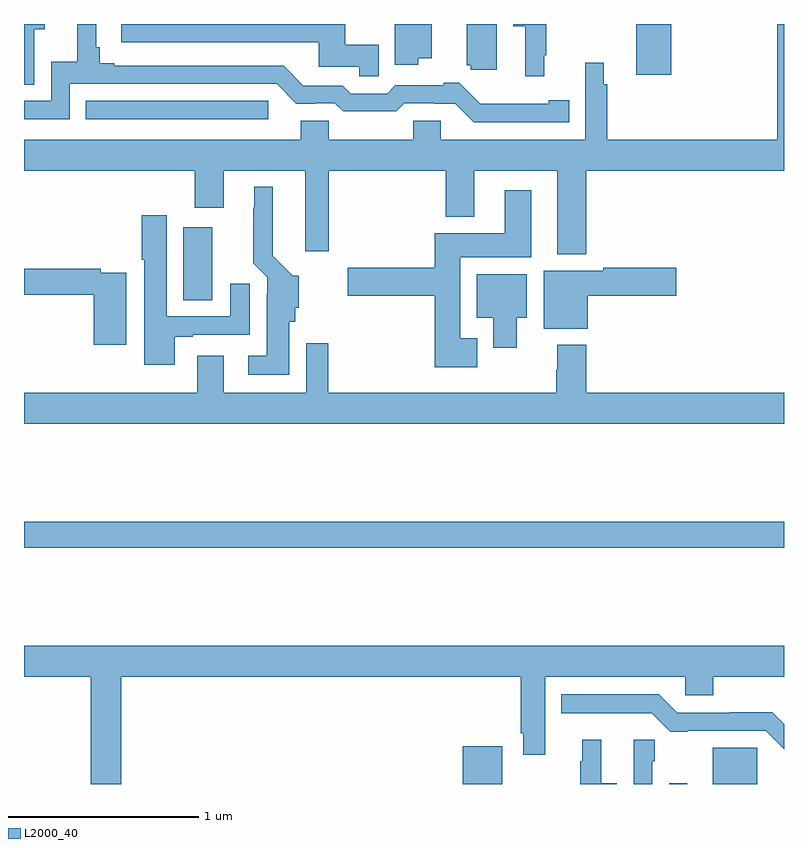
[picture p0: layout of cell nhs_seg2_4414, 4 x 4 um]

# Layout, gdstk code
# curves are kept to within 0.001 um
import gdstk
lib = gdstk.Library(unit=1e-6, precision=1e-09)
def R(c, l, rs):  # rectangles x0, y0, x1, y1
    for r in rs: c.add(gdstk.rectangle(r[:2], r[2:], *l))
def P(c, l, *ps):  # polygons
    for p in ps: c.add(gdstk.Polygon(p, *l))
L2000_40 = (2000, 40)

nhs_seg2_4414 = lib.new_cell('nhs_seg2_4414')
R(nhs_seg2_4414, L2000_40, [(353.309,585.8,353.518,586), (354.396,585.8,354.491,585.805), (354.626,585.8,354.86,585.991), (351,587.044,355,587.18), (351.839,588.346,351.991,588.73), (351.325,589.299,352.285,589.395), (354.223,589.532,354.406,589.8)])
P(nhs_seg2_4414, L2000_40, [(353.488,589.8),(353.33,589.8),(353.33,589.584),(353.352,589.584),(353.352,589.559),(353.488,589.559)],
  [(353.87,589.4),(353.762,589.4),(353.762,589.381),(353.402,589.381),(353.291,589.492),(353.21,589.492),(353.21,589.477),(352.954,589.477),(352.911,589.434),(352.72,589.434),(352.678,589.476),(352.471,589.476),(352.366,589.581),(351.475,589.581),(351.475,589.594),(351.398,589.594),(351.398,589.678),(351.379,589.678),(351.379,589.8),(351.281,589.8),(351.281,589.601),(351.144,589.601),(351.144,589.395),(351,589.395),(351,589.299),(351.24,589.299),(351.24,589.485),(352.329,589.485),(352.434,589.38),(352.533,589.38),(352.533,589.383),(352.635,589.383),(352.679,589.34),(352.958,589.34),(353.001,589.383),(353.158,589.383),(353.158,589.38),(353.271,589.38),(353.367,589.284),(353.87,589.284)],
  [(353.074,589.619),(353.146,589.619),(353.146,589.8),(352.952,589.8),(352.952,589.586),(353.074,589.586)],
  [(353.96,589.028),(355,589.028),(355,589.8),(354.965,589.8),(354.965,589.192),(354.071,589.192),(354.071,589.484),(354.052,589.484),(354.052,589.597),(353.955,589.597),(353.955,589.192),(353.193,589.192),(353.193,589.29),(353.048,589.29),(353.048,589.192),(352.604,589.192),(352.604,589.29),(352.457,589.29),(352.457,589.192),(351,589.192),(351,589.028),(351.899,589.028),(351.899,588.834),(352.051,588.834),(352.051,589.028),(352.481,589.028),(352.481,588.603),(352.604,588.603),(352.604,589.028),(353.219,589.028),(353.219,588.785),(353.371,588.785),(353.371,589.028),(353.807,589.028),(353.807,588.587),(353.96,588.587)],
  [(353.738,589.636),(353.749,589.636),(353.749,589.8),(353.576,589.8),(353.576,589.789),(353.639,589.789),(353.639,589.524),(353.738,589.524)],
  [(351.055,589.772),(351.109,589.772),(351.109,589.8),(351,589.8),(351,589.48),(351.055,589.48)],
  [(352.867,589.691),(352.69,589.691),(352.69,589.8),(351.513,589.8),(351.513,589.704),(352.55,589.704),(352.55,589.575),(352.765,589.575),(352.765,589.524),(352.867,589.524)],
  [(352.396,588.234),(352.427,588.234),(352.427,588.307),(352.447,588.307),(352.447,588.474),(352.414,588.474),(352.309,588.58),(352.309,588.943),(352.211,588.943),(352.211,588.833),(352.207,588.833),(352.207,588.542),(352.281,588.468),(352.281,588.374),(352.277,588.374),(352.277,588.055),(352.179,588.055),(352.179,587.954),(352.396,587.954)],
  [(353.386,588.145),(353.296,588.145),(353.296,588.572),(353.671,588.572),(353.671,588.925),(353.531,588.925),(353.531,588.7),(353.162,588.7),(353.162,588.518),(352.704,588.518),(352.704,588.371),(353.162,588.371),(353.162,587.993),(353.386,587.993)],
  [(351.793,588.153),(351.889,588.153),(351.889,588.165),(352.189,588.165),(352.189,588.433),(352.085,588.433),(352.085,588.261),(351.751,588.261),(351.751,588.793),(351.62,588.793),(351.62,588.559),(351.632,588.559),(351.632,588.006),(351.793,588.006)],
  [(353.968,588.371),(354.433,588.371),(354.433,588.518),(354.048,588.518),(354.048,588.502),(353.735,588.502),(353.735,588.197),(353.968,588.197)],
  [(351.538,588.492),(351.404,588.492),(351.404,588.512),(351,588.512),(351,588.376),(351.368,588.376),(351.368,588.111),(351.538,588.111)],
  [(353.593,588.254),(353.647,588.254),(353.647,588.484),(353.384,588.484),(353.384,588.254),(353.471,588.254),(353.471,588.096),(353.593,588.096)],
  [(355,587.86),(353.96,587.86),(353.96,588.112),(353.807,588.112),(353.807,587.981),(353.8,587.981),(353.8,587.86),(352.601,587.86),(352.601,588.121),(352.485,588.121),(352.485,587.86),(352.051,587.86),(352.051,588.055),(351.911,588.055),(351.911,587.86),(351,587.86),(351,587.696),(355,587.696)],
  [(351.512,586.364),(353.615,586.364),(353.615,586.066),(353.627,586.066),(353.627,585.954),(353.743,585.954),(353.743,586.364),(354.48,586.364),(354.48,586.266),(354.627,586.266),(354.627,586.364),(355,586.364),(355,586.528),(351,586.528),(351,586.364),(351.352,586.364),(351.352,585.8),(351.512,585.8)],
  [(355,586.115),(354.938,586.178),(354.715,586.178),(354.715,586.176),(354.438,586.176),(354.341,586.273),(353.828,586.273),(353.828,586.172),(354.303,586.173),(354.401,586.075),(354.493,586.075),(354.493,586.08),(354.903,586.08),(355,585.983)],
  [(354.306,585.92),(354.319,585.92),(354.319,586.033),(354.21,586.033),(354.21,585.8),(354.306,585.8)],
  [(354.121,585.804),(354.037,585.804),(354.037,586.033),(353.939,586.033),(353.939,585.92),(353.928,585.92),(353.928,585.8),(354.121,585.8)])

lib.write_gds('nhs_seg2_4414.gds')
